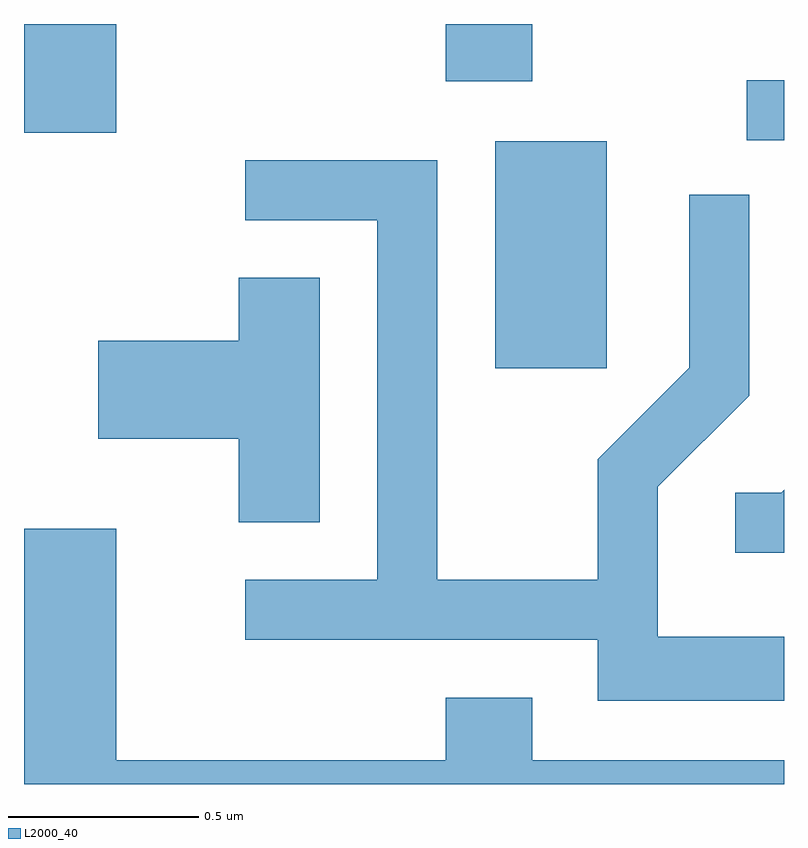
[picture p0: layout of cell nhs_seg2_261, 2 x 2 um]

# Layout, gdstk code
import gdstk
lib = gdstk.Library(unit=1e-6, precision=1e-09)
def R(c, l, rs):  # rectangles x0, y0, x1, y1
    for r in rs: c.add(gdstk.rectangle(r[:2], r[2:], *l))
def P(c, l, *ps):  # polygons
    for p in ps: c.add(gdstk.Polygon(p, *l))
L2000_40 = (2000, 40)

nhs_seg2_261 = lib.new_cell('nhs_seg2_261')
R(nhs_seg2_261, L2000_40, [(187.851,1102.896,188.144,1103.494), (188.513,1103.496,188.611,1103.654), (186.611,1103.516,186.854,1103.802), (187.721,1103.651,187.949,1103.802)])
P(nhs_seg2_261, L2000_40, [(188.611,1102.189),(188.279,1102.189),(188.279,1102.584),(188.519,1102.824),(188.519,1103.353),(188.361,1103.353),(188.361,1102.897),(188.121,1102.657),(188.121,1102.339),(187.699,1102.339),(187.699,1103.444),(187.193,1103.444),(187.193,1103.286),(187.541,1103.286),(187.541,1102.339),(187.193,1102.339),(187.193,1102.181),(188.121,1102.181),(188.121,1102.021),(188.611,1102.021)],
  [(187.389,1103.134),(187.176,1103.134),(187.176,1102.969),(186.806,1102.969),(186.806,1102.711),(187.176,1102.711),(187.176,1102.491),(187.389,1102.491)],
  [(188.611,1102.576),(188.604,1102.569),(188.483,1102.569),(188.483,1102.411),(188.611,1102.411)],
  [(188.611,1101.864),(187.949,1101.864),(187.949,1102.029),(187.721,1102.029),(187.721,1101.864),(186.854,1101.864),(186.854,1102.474),(186.611,1102.474),(186.611,1101.802),(188.611,1101.802)])

lib.write_gds('nhs_seg2_261.gds')
